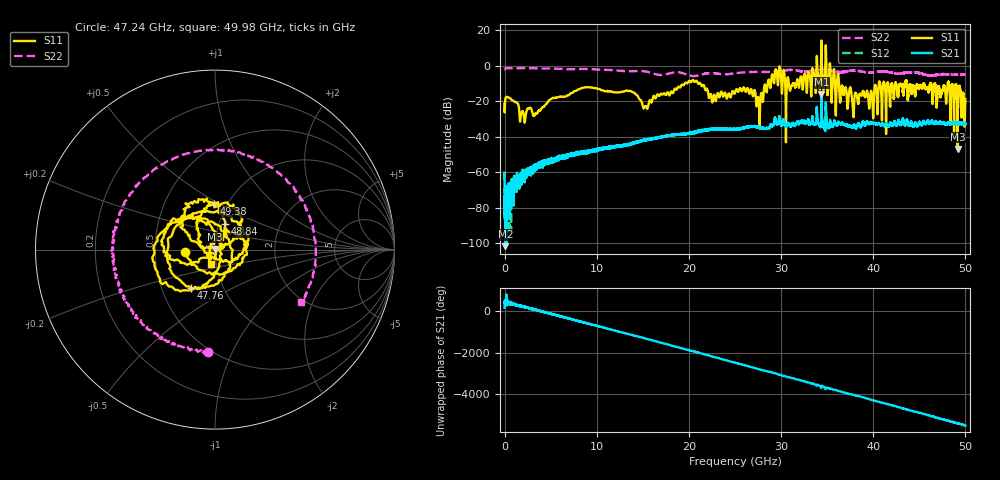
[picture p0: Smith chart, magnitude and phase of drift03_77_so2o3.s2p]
!Created with skrf (http://scikit-rf.org).
# Hz S RI R 50.0
!freq ReS11 ImS11 ReS21 ImS21 ReS12 ImS12 ReS22 ImS22
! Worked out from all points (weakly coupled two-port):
!   10001 points, 300 kHz to 50 GHz, reference 50 ohm
!   highest |S21| = -16.10 dB at 34.37 GHz (marker M1); lowest = -101.6 dB at 90.3 MHz (marker M2)
!   lowest |S11| = -46.9 dB at 49.16 GHz (marker M3), VSWR 1.01, Z = 49.8 + j0.424 ohm
!   |S11| at or under -10 dB: start of sweep to 19.55 GHz; 21.25 GHz to 28.55 GHz (7.298 GHz wide, 29.3 % of centre); 36.28 GHz to 40.61 GHz (4.331 GHz wide, 11.3 % of centre) (the widest 3 of 39)
!   |S22| runs from -5.9 to -1.3 dB; largest |S21 - S12| = 0.029
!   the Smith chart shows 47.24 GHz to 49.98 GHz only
!   S11 on the Smith chart (normalised r, x): 47.24 GHz: 0.71, -0.02; 47.76 GHz: 0.70, -0.32; 48.84 GHz: 1.07, +0.31; 49.38 GHz: 0.87, +0.47; 49.98 GHz: 0.94, -0.15
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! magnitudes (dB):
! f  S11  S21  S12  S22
! 300 kHz  -21.5  -60.6  -59.5  -2.0
! 90.3 MHz  -18.6  -101.6  -80.4  -1.5
! 3.3 GHz  -27.3  -55.7  -55.9  -1.5
! 8.335 GHz  -12.6  -49.8  -49.2  -1.9
! 15.29 GHz  -22.8  -42.0  -41.9  -3.3
! 16.67 GHz  -16.5  -40.7  -40.4  -5.2
! 20.26 GHz  -9.1  -38.1  -38.2  -5.8
! 25 GHz  -15.3  -35.9  -35.7  -4.3
! 27.52 GHz  -17.7  -34.3  -34.5  -3.5
! 29.28 GHz  -8.6  -31.1  -30.4  -3.3
! 30.73 GHz  -6.5  -32.7  -32.4  -2.5
! 33.34 GHz  -7.3  -31.2  -31.3  -2.9
! 34.37 GHz  14.2  -16.1  -17.3  -2.2
! 37.87 GHz  -28.7  -33.6  -34.1  -2.8
! 41.67 GHz  -11.4  -34.2  -34.1  -3.7
! 47.24 GHz  -15.4  -31.8  -31.9  -4.9
! 47.76 GHz  -12.0  -32.5  -32.4  -4.9
! 48.84 GHz  -16.3  -31.8  -32.4  -5.1
! 49.16 GHz  -46.9  -33.2  -32.7  -5.1
! 49.38 GHz  -12.0  -32.3  -32.2  -5.1
! 49.98 GHz  -21.4  -32.3  -32.5  -5.0
! 50 GHz  -19.0  -33.0  -32.9  -4.9
